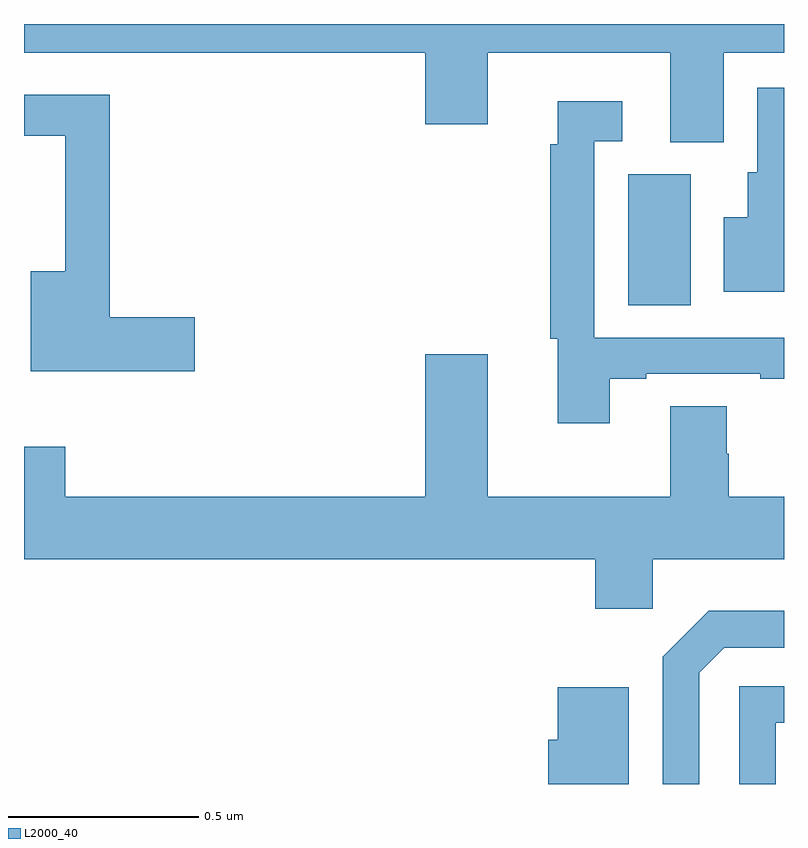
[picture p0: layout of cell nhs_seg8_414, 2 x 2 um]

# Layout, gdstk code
import gdstk
lib = gdstk.Library(unit=1e-6, precision=1e-09)
def R(c, l, rs):  # rectangles x0, y0, x1, y1
    for r in rs: c.add(gdstk.rectangle(r[:2], r[2:], *l))
def P(c, l, *ps):  # polygons
    for p in ps: c.add(gdstk.Polygon(p, *l))
L2000_40 = (2000, 40)

nhs_seg8_414 = lib.new_cell('nhs_seg8_414')
R(nhs_seg8_414, L2000_40, [(117.59,1125.16,117.754,1125.504)])
P(nhs_seg8_414, L2000_40, [(117.841,1125.824),(118,1125.824),(118,1125.9),(116,1125.9),(116,1125.824),(117.056,1125.824),(117.056,1125.636),(117.22,1125.636),(117.22,1125.824),(117.701,1125.824),(117.701,1125.589),(117.841,1125.589)],
  [(118,1125.732),(117.93,1125.732),(117.93,1125.51),(117.905,1125.51),(117.905,1125.391),(117.842,1125.391),(117.842,1125.195),(118,1125.195)],
  [(116.449,1125.128),(116.225,1125.128),(116.225,1125.714),(116,1125.714),(116,1125.606),(116.108,1125.606),(116.108,1125.25),(116.018,1125.25),(116.018,1124.986),(116.449,1124.986)],
  [(117.541,1124.967),(117.637,1124.967),(117.637,1124.979),(117.937,1124.979),(117.937,1124.967),(118,1124.967),(118,1125.075),(117.501,1125.075),(117.501,1125.591),(117.574,1125.591),(117.574,1125.697),(117.404,1125.697),(117.404,1125.584),(117.385,1125.584),(117.385,1125.072),(117.404,1125.072),(117.404,1124.85),(117.541,1124.85)],
  [(117.654,1124.492),(118,1124.492),(118,1124.656),(117.854,1124.656),(117.854,1124.769),(117.849,1124.769),(117.849,1124.894),(117.701,1124.894),(117.701,1124.656),(117.22,1124.656),(117.22,1125.031),(117.056,1125.031),(117.056,1124.656),(116.108,1124.656),(116.108,1124.788),(116,1124.788),(116,1124.492),(117.503,1124.492),(117.503,1124.361),(117.654,1124.361)],
  [(117.777,1124.193),(117.843,1124.259),(118,1124.259),(118,1124.356),(117.802,1124.356),(117.681,1124.235),(117.681,1123.9),(117.777,1123.9)],
  [(117.978,1124.061),(118,1124.061),(118,1124.157),(117.882,1124.157),(117.882,1123.9),(117.978,1123.9)],
  [(117.592,1124.155),(117.404,1124.155),(117.404,1124.016),(117.38,1124.016),(117.38,1123.9),(117.592,1123.9)])

lib.write_gds('nhs_seg8_414.gds')
